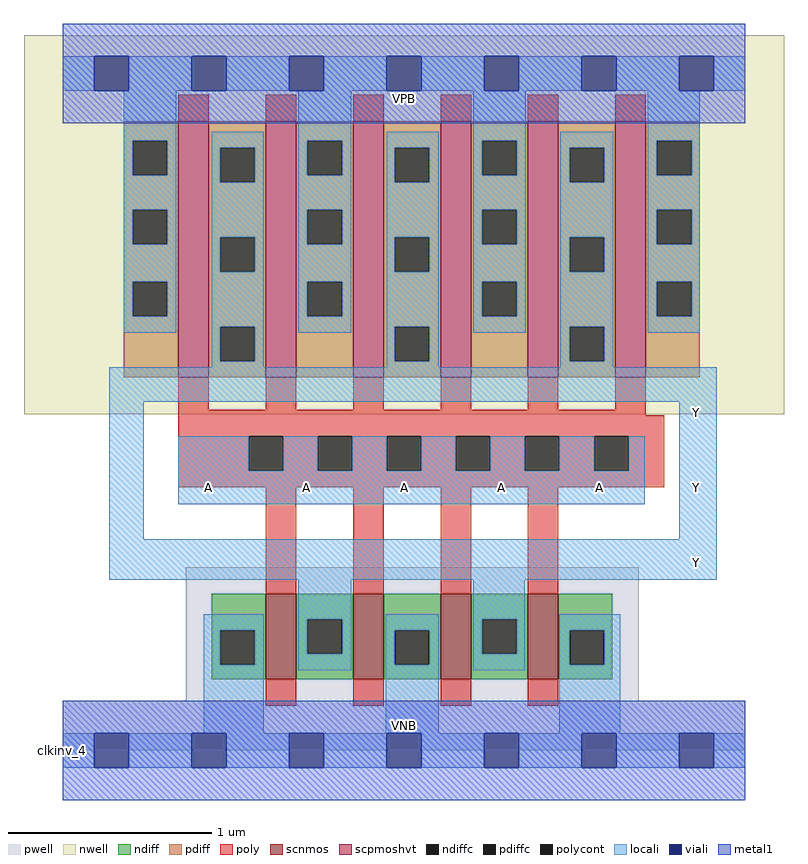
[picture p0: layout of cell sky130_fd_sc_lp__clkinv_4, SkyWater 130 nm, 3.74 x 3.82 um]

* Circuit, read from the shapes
.subckt sky130_fd_sc_lp__clkinv_4 A VGND VNB VPB VPWR Y
XM1 Y A VGND VNB sky130_fd_pr__nfet_01v8 w=0.42 l=0.15 m=4
XM2 Y A VPWR VPB sky130_fd_pr__pfet_01v8_hvt w=1.26 l=0.15 m=6
.ends

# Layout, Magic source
magic
tech sky130A
magscale 1 2
<< nwell >>
rect -38 331 710 704
<< pwell >>
rect 121 49 567 180
rect 0 0 672 49
<< scnmos >>
rect 200 70 230 154
rect 286 70 316 154
rect 372 70 402 154
rect 458 70 488 154
<< scpmoshvt >>
rect 114 367 144 619
rect 200 367 230 619
rect 286 367 316 619
rect 372 367 402 619
rect 458 367 488 619
rect 544 367 574 619
<< ndiff >>
rect 147 118 200 154
rect 147 84 155 118
rect 189 84 200 118
rect 147 70 200 84
rect 230 129 286 154
rect 230 95 241 129
rect 275 95 286 129
rect 230 70 286 95
rect 316 118 372 154
rect 316 84 327 118
rect 361 84 372 118
rect 316 70 372 84
rect 402 129 458 154
rect 402 95 413 129
rect 447 95 458 129
rect 402 70 458 95
rect 488 118 541 154
rect 488 84 499 118
rect 533 84 541 118
rect 488 70 541 84
<< pdiff >>
rect 60 600 114 619
rect 60 566 69 600
rect 103 566 114 600
rect 60 532 114 566
rect 60 498 69 532
rect 103 498 114 532
rect 60 461 114 498
rect 60 427 69 461
rect 103 427 114 461
rect 60 367 114 427
rect 144 593 200 619
rect 144 559 155 593
rect 189 559 200 593
rect 144 505 200 559
rect 144 471 155 505
rect 189 471 200 505
rect 144 417 200 471
rect 144 383 155 417
rect 189 383 200 417
rect 144 367 200 383
rect 230 600 286 619
rect 230 566 241 600
rect 275 566 286 600
rect 230 532 286 566
rect 230 498 241 532
rect 275 498 286 532
rect 230 461 286 498
rect 230 427 241 461
rect 275 427 286 461
rect 230 367 286 427
rect 316 593 372 619
rect 316 559 327 593
rect 361 559 372 593
rect 316 505 372 559
rect 316 471 327 505
rect 361 471 372 505
rect 316 417 372 471
rect 316 383 327 417
rect 361 383 372 417
rect 316 367 372 383
rect 402 600 458 619
rect 402 566 413 600
rect 447 566 458 600
rect 402 532 458 566
rect 402 498 413 532
rect 447 498 458 532
rect 402 461 458 498
rect 402 427 413 461
rect 447 427 458 461
rect 402 367 458 427
rect 488 593 544 619
rect 488 559 499 593
rect 533 559 544 593
rect 488 505 544 559
rect 488 471 499 505
rect 533 471 544 505
rect 488 417 544 471
rect 488 383 499 417
rect 533 383 544 417
rect 488 367 544 383
rect 574 600 627 619
rect 574 566 585 600
rect 619 566 627 600
rect 574 532 627 566
rect 574 498 585 532
rect 619 498 627 532
rect 574 461 627 498
rect 574 427 585 461
rect 619 427 627 461
rect 574 367 627 427
<< ndiffc >>
rect 155 84 189 118
rect 241 95 275 129
rect 327 84 361 118
rect 413 95 447 129
rect 499 84 533 118
<< pdiffc >>
rect 69 566 103 600
rect 69 498 103 532
rect 69 427 103 461
rect 155 559 189 593
rect 155 471 189 505
rect 155 383 189 417
rect 241 566 275 600
rect 241 498 275 532
rect 241 427 275 461
rect 327 559 361 593
rect 327 471 361 505
rect 327 383 361 417
rect 413 566 447 600
rect 413 498 447 532
rect 413 427 447 461
rect 499 559 533 593
rect 499 471 533 505
rect 499 383 533 417
rect 585 566 619 600
rect 585 498 619 532
rect 585 427 619 461
<< poly >>
rect 114 619 144 645
rect 200 619 230 645
rect 286 619 316 645
rect 372 619 402 645
rect 458 619 488 645
rect 544 619 574 645
rect 114 335 144 367
rect 200 335 230 367
rect 286 335 316 367
rect 372 335 402 367
rect 458 335 488 367
rect 544 335 574 367
rect 114 330 574 335
rect 114 309 592 330
rect 114 275 183 309
rect 217 275 251 309
rect 285 275 319 309
rect 353 275 387 309
rect 421 275 455 309
rect 489 275 523 309
rect 557 275 592 309
rect 114 259 592 275
rect 200 154 230 259
rect 286 154 316 259
rect 372 154 402 259
rect 458 154 488 259
rect 200 44 230 70
rect 286 44 316 70
rect 372 44 402 70
rect 458 44 488 70
<< polycont >>
rect 183 275 217 309
rect 251 275 285 309
rect 319 275 353 309
rect 387 275 421 309
rect 455 275 489 309
rect 523 275 557 309
<< locali >>
rect 0 649 31 683
rect 65 649 127 683
rect 161 649 223 683
rect 257 649 319 683
rect 353 649 415 683
rect 449 649 511 683
rect 545 649 607 683
rect 641 649 672 683
rect 60 600 112 649
rect 60 566 69 600
rect 103 566 112 600
rect 60 532 112 566
rect 60 498 69 532
rect 103 498 112 532
rect 60 461 112 498
rect 60 427 69 461
rect 103 427 112 461
rect 60 411 112 427
rect 147 593 198 609
rect 147 559 155 593
rect 189 559 198 593
rect 147 505 198 559
rect 147 471 155 505
rect 189 471 198 505
rect 147 417 198 471
rect 147 383 155 417
rect 189 383 198 417
rect 232 600 284 649
rect 232 566 241 600
rect 275 566 284 600
rect 232 532 284 566
rect 232 498 241 532
rect 275 498 284 532
rect 232 461 284 498
rect 232 427 241 461
rect 275 427 284 461
rect 232 411 284 427
rect 319 593 370 609
rect 319 559 327 593
rect 361 559 370 593
rect 319 505 370 559
rect 319 471 327 505
rect 361 471 370 505
rect 319 417 370 471
rect 147 377 198 383
rect 319 383 327 417
rect 361 383 370 417
rect 404 600 456 649
rect 404 566 413 600
rect 447 566 456 600
rect 404 532 456 566
rect 404 498 413 532
rect 447 498 456 532
rect 404 461 456 498
rect 404 427 413 461
rect 447 427 456 461
rect 404 411 456 427
rect 490 593 542 609
rect 490 559 499 593
rect 533 559 542 593
rect 490 505 542 559
rect 490 471 499 505
rect 533 471 542 505
rect 490 417 542 471
rect 319 377 370 383
rect 490 383 499 417
rect 533 383 542 417
rect 576 600 627 649
rect 576 566 585 600
rect 619 566 627 600
rect 576 532 627 566
rect 576 498 585 532
rect 619 498 627 532
rect 576 461 627 498
rect 576 427 585 461
rect 619 427 627 461
rect 576 411 627 427
rect 490 377 542 383
rect 46 343 644 377
rect 46 208 80 343
rect 114 275 183 309
rect 217 275 251 309
rect 285 275 319 309
rect 353 275 387 309
rect 421 275 455 309
rect 489 275 523 309
rect 557 275 573 309
rect 114 242 573 275
rect 607 208 644 343
rect 46 168 644 208
rect 139 118 198 134
rect 139 84 155 118
rect 189 84 198 118
rect 139 17 198 84
rect 232 129 284 168
rect 232 95 241 129
rect 275 95 284 129
rect 232 79 284 95
rect 318 118 370 134
rect 318 84 327 118
rect 361 84 370 118
rect 318 17 370 84
rect 404 129 455 168
rect 404 95 413 129
rect 447 95 455 129
rect 404 79 455 95
rect 489 118 549 134
rect 489 84 499 118
rect 533 84 549 118
rect 489 17 549 84
rect 0 -17 31 17
rect 65 -17 127 17
rect 161 -17 223 17
rect 257 -17 319 17
rect 353 -17 415 17
rect 449 -17 511 17
rect 545 -17 607 17
rect 641 -17 672 17
<< viali >>
rect 31 649 65 683
rect 127 649 161 683
rect 223 649 257 683
rect 319 649 353 683
rect 415 649 449 683
rect 511 649 545 683
rect 607 649 641 683
rect 31 -17 65 17
rect 127 -17 161 17
rect 223 -17 257 17
rect 319 -17 353 17
rect 415 -17 449 17
rect 511 -17 545 17
rect 607 -17 641 17
<< metal1 >>
rect 0 683 672 715
rect 0 649 31 683
rect 65 649 127 683
rect 161 649 223 683
rect 257 649 319 683
rect 353 649 415 683
rect 449 649 511 683
rect 545 649 607 683
rect 641 649 672 683
rect 0 617 672 649
rect 0 17 672 49
rect 0 -17 31 17
rect 65 -17 127 17
rect 161 -17 223 17
rect 257 -17 319 17
rect 353 -17 415 17
rect 449 -17 511 17
rect 545 -17 607 17
rect 641 -17 672 17
rect 0 -49 672 -17
<< labels >>
flabel pwell s 0 0 672 49 0 FreeSans 200 0 0 0 VNB
port 3 nsew ground bidirectional
flabel nwell s 0 617 672 666 0 FreeSans 200 0 0 0 VPB
port 4 nsew power bidirectional
rlabel comment s 0 0 0 0 4 clkinv_4
flabel metal1 s 0 617 672 666 0 FreeSans 340 0 0 0 VPWR
port 5 nsew power bidirectional
flabel metal1 s 0 0 672 49 0 FreeSans 340 0 0 0 VGND
port 2 nsew ground bidirectional
flabel locali s 415 242 449 276 0 FreeSans 340 0 0 0 A
port 1 nsew signal input
flabel locali s 511 242 545 276 0 FreeSans 340 0 0 0 A
port 1 nsew signal input
flabel locali s 607 168 641 202 0 FreeSans 340 0 0 0 Y
port 6 nsew signal output
flabel locali s 607 242 641 276 0 FreeSans 340 0 0 0 Y
port 6 nsew signal output
flabel locali s 127 242 161 276 0 FreeSans 340 0 0 0 A
port 1 nsew signal input
flabel locali s 319 242 353 276 0 FreeSans 340 0 0 0 A
port 1 nsew signal input
flabel locali s 223 242 257 276 0 FreeSans 340 0 0 0 A
port 1 nsew signal input
flabel locali s 607 316 641 350 0 FreeSans 340 0 0 0 Y
port 6 nsew signal output
<< properties >>
string LEFsite unit
string LEFclass CORE
string FIXED_BBOX 0 0 672 666
string GDS_FILE $PDKPATH/libs.ref/sky130_fd_sc_lp/gds/sky130_fd_sc_lp.gds
string LEFsymmetry X Y R90
string GDS_END 4688190
string GDS_START 4681664
<< end >>
